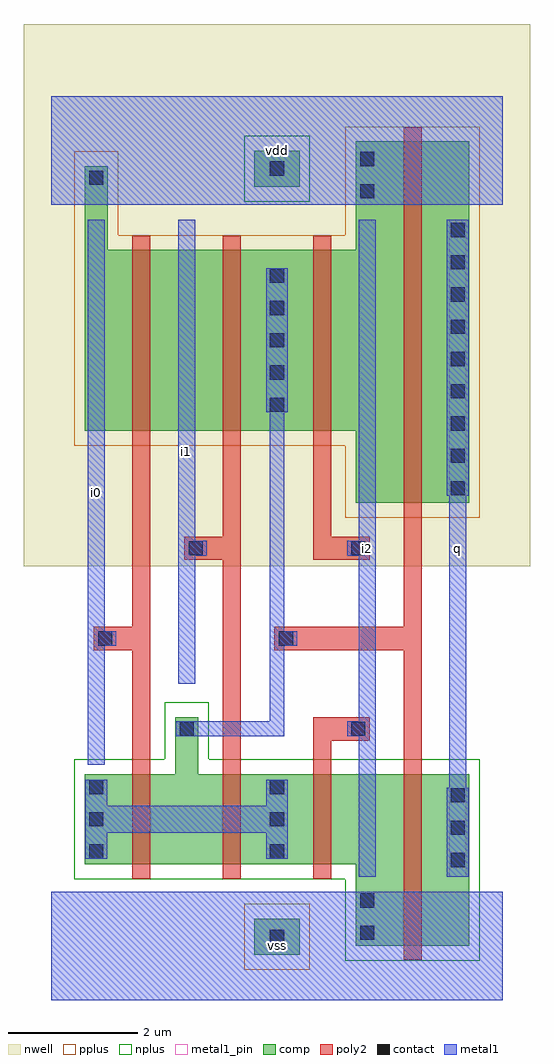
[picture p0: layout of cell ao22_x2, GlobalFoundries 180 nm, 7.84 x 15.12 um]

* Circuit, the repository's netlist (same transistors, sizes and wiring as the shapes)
* ao22_x2
.subckt ao22_x2 vdd q vss i0 i1 i2
Mp_net0_1 vdd _net0 q vdd pfet_03v3 l=0.28um w=5.6um
Mn_net0_1 vss _net0 q vss nfet_03v3 l=0.28um w=2.66um
Mp_i0_1 vdd i0 _net1 vdd pfet_03v3 l=0.28um w=2.8um
Mn_i0_1 _net2 i0 _net0 vss nfet_03v3 l=0.28um w=1.4um
Mn_i1_1 _net0 i1 _net2 vss nfet_03v3 l=0.28um w=1.4um
Mp_i1_1 _net1 i1 _net0 vdd pfet_03v3 l=0.28um w=2.8um
Mp_i2_1 _net0 i2 vdd vdd pfet_03v3 l=0.28um w=2.8um
Mn_i2_1 _net2 i2 vss vss nfet_03v3 l=0.28um w=1.4um
.ends ao22_x2

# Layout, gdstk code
import gdstk
lib = gdstk.Library(unit=1e-6, precision=1e-09)
def R(c, l, rs):  # rectangles x0, y0, x1, y1
    for r in rs: c.add(gdstk.rectangle(r[:2], r[2:], *l))
def A(c, l, x, y, w, h, nx, ny, dx, dy):  # array of equal rectangles
    R(c, l, [(x+i*dx, y+j*dy, x+i*dx+w, y+j*dy+h) for i in range(nx) for j in range(ny)])
def P(c, l, *ps):  # polygons
    for p in ps: c.add(gdstk.Polygon(p, *l))
nwell = (21, 0)
comp = (22, 0)
poly2 = (30, 0)
pplus = (31, 0)
nplus = (32, 0)
contact = (33, 0)
metal1 = (34, 0)
metal1_pin = (34, 10)

ao22_x2 = lib.new_cell('ao22_x2')
R(ao22_x2, nwell, [(-0.42,6.72,7.42,15.12)])
R(ao22_x2, comp, [(3.15,0.7,3.85,1.26), (3.15,12.6,3.85,13.16)])
P(ao22_x2, comp, [(4.72,7.7),(4.72,8.82),(0.52,8.82),(0.52,12.92),(0.88,12.92),(0.88,11.62),(4.72,11.62),(4.72,13.3),(6.48,13.3),(6.48,7.7)],
  [(4.72,0.84),(4.72,2.1),(0.52,2.1),(0.52,3.5),(1.92,3.5),(1.92,4.38),(2.28,4.38),(2.28,3.5),(6.48,3.5),(6.48,0.84)])
P(ao22_x2, poly2, [(5.46,0.62),(5.46,5.42),(3.46,5.42),(3.46,5.78),(5.46,5.78),(5.46,13.52),(5.74,13.52),(5.74,0.62)],
  [(1.26,1.88),(1.26,5.42),(0.66,5.42),(0.66,5.78),(1.26,5.78),(1.26,11.84),(1.54,11.84),(1.54,1.88)],
  [(2.66,1.88),(2.66,6.82),(2.06,6.82),(2.06,7.18),(2.66,7.18),(2.66,11.84),(2.94,11.84),(2.94,1.88)],
  [(4.06,6.82),(4.06,11.84),(4.34,11.84),(4.34,7.18),(4.94,7.18),(4.94,6.82)],
  [(4.06,1.88),(4.06,4.38),(4.94,4.38),(4.94,4.02),(4.34,4.02),(4.34,1.88)])
R(ao22_x2, pplus, [(2.99,0.47,4.01,1.49)])
P(ao22_x2, pplus, [(4.56,7.47),(4.56,8.59),(0.36,8.59),(0.36,13.15),(1.04,13.15),(1.04,11.85),(4.56,11.85),(4.56,13.53),(6.64,13.53),(6.64,7.47)])
R(ao22_x2, nplus, [(2.99,12.37,4.01,13.39)])
P(ao22_x2, nplus, [(4.56,0.61),(4.56,1.87),(0.36,1.87),(0.36,3.73),(1.76,3.73),(1.76,4.61),(2.44,4.61),(2.44,3.73),(6.64,3.73),(6.64,0.61)])
A(ao22_x2, contact, 6.19, 2.06, 0.22, 0.22, 1, 3, 0, 0.5)
A(ao22_x2, contact, 0.59, 2.19, 0.22, 0.22, 1, 3, 0, 0.5)
A(ao22_x2, contact, 3.39, 2.19, 0.22, 0.22, 1, 3, 0, 0.5)
A(ao22_x2, contact, 6.19, 7.82, 0.22, 0.22, 1, 9, 0, 0.5)
A(ao22_x2, contact, 3.39, 9.11, 0.22, 0.22, 1, 5, 0, 0.5)
R(ao22_x2, contact, [(3.39,0.87,3.61,1.09), (4.79,0.93,5.01,1.15), (4.79,1.43,5.01,1.65), (1.99,4.09,2.21,4.31), (4.65,4.09,4.87,4.31), (0.73,5.49,0.95,5.71), (3.53,5.49,3.75,5.71), (2.13,6.89,2.35,7.11), (4.65,6.89,4.87,7.11), (4.79,12.42,5.01,12.64), (0.59,12.63,0.81,12.85), (3.39,12.77,3.61,12.99), (4.79,12.92,5.01,13.14)])
R(ao22_x2, metal1, [(0,0,7,1.68), (0,12.32,7,14)])
P(ao22_x2, metal1, [(6.13,1.91),(6.13,3.285),(6.17,3.285),(6.17,7.815),(6.13,7.815),(6.13,12.09),(6.47,12.09),(6.47,7.815),(6.43,7.815),(6.43,3.285),(6.47,3.285),(6.47,1.91)],
  [(1.93,4.085),(1.93,4.315),(3.385,4.315),(3.385,9.105),(3.33,9.105),(3.33,11.335),(3.67,11.335),(3.67,9.105),(3.615,9.105),(3.615,5.715),(3.81,5.715),(3.81,5.485),(3.615,5.485),(3.615,4.085)],
  [(0.57,3.645),(0.57,12.09),(0.83,12.09),(0.83,5.715),(1.01,5.715),(1.01,5.485),(0.83,5.485),(0.83,3.645)],
  [(0.53,2.185),(0.53,3.415),(0.87,3.415),(0.87,3.01),(3.33,3.01),(3.33,3.415),(3.67,3.415),(3.67,2.185),(3.33,2.185),(3.33,2.59),(0.87,2.59),(0.87,2.185)],
  [(1.97,4.9),(1.97,12.09),(2.23,12.09),(2.23,7.115),(2.41,7.115),(2.41,6.885),(2.23,6.885),(2.23,4.9)],
  [(4.77,1.91),(4.77,4.085),(4.59,4.085),(4.59,4.315),(4.77,4.315),(4.77,6.885),(4.59,6.885),(4.59,7.115),(4.77,7.115),(4.77,12.09),(5.03,12.09),(5.03,1.91)])
R(ao22_x2, metal1_pin, [(0,0,7,1.68), (4.77,1.91,5.03,12.09), (6.17,1.91,6.43,12.09), (0.57,3.645,0.83,12.09), (1.97,4.9,2.23,12.09), (0,12.32,7,14)])
ao22_x2.add(gdstk.Label('vdd', (3.5,13.16), layer=34, texttype=10))
ao22_x2.add(gdstk.Label('q', (6.3,7), layer=34, texttype=10))
ao22_x2.add(gdstk.Label('vss', (3.5,0.84), layer=34, texttype=10))
ao22_x2.add(gdstk.Label('i0', (0.7,7.868), layer=34, texttype=10))
ao22_x2.add(gdstk.Label('i1', (2.1,8.495), layer=34, texttype=10))
ao22_x2.add(gdstk.Label('i2', (4.9,7), layer=34, texttype=10))

lib.write_gds('ao22_x2.gds')
